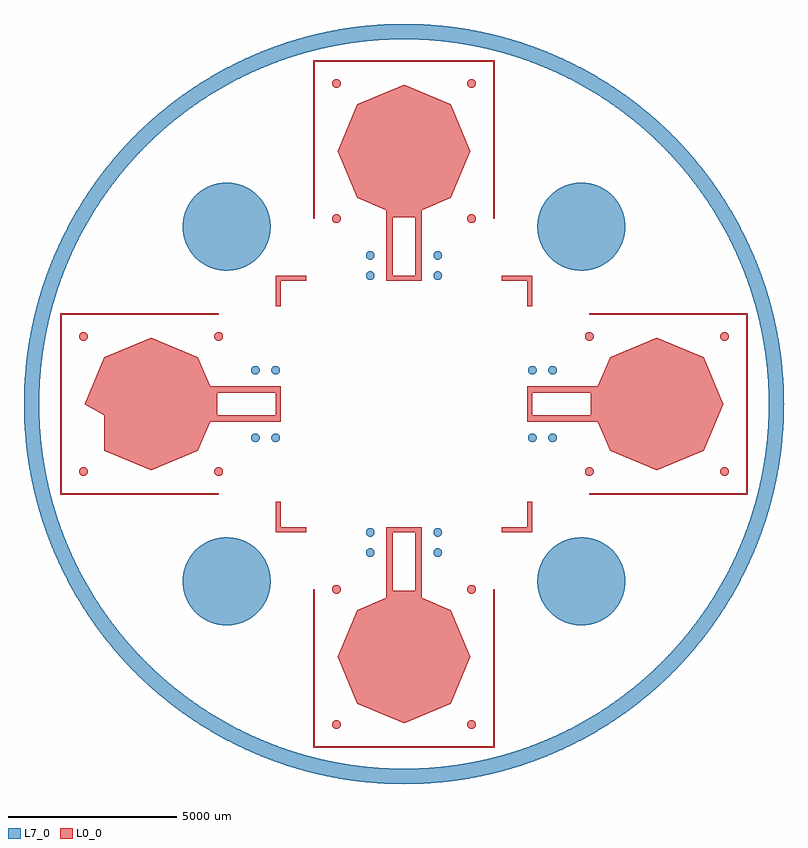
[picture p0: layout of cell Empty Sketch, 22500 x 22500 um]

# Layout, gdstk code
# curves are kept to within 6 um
import gdstk
lib = gdstk.Library(unit=1e-6, precision=1e-09)
def P(c, l, *ps):  # polygons
    for p in ps: c.add(gdstk.Polygon(p, *l))
L0_0 = (0, 0)
L7_0 = (7, 0)

empty_sketch = lib.new_cell('Empty Sketch')
P(empty_sketch, L0_0, [(-2639,10128),(2639,10128),(2639,5489),(2689,5489),(2689,10178),(-2689,10178),(-2689,5489),(-2639,5489)],
  [(2001.012,9364.004),(2048.303,9373.71),(2089.101,9401.33),(2115.678,9441.632),(2124.996,9490.012),(2115.29,9537.303),(2087.67,9578.101),(2047.368,9604.678),(1998.988,9613.996),(1951.697,9604.29),(1910.899,9576.67),(1884.322,9536.368),(1875.004,9487.988),(1884.71,9440.697),(1912.33,9399.899),(1952.632,9373.322)],
  [(-1998.988,9364.004),(-1951.697,9373.71),(-1910.899,9401.33),(-1884.322,9441.632),(-1875.004,9490.012),(-1884.71,9537.303),(-1912.33,9578.101),(-1952.632,9604.678),(-2001.012,9613.996),(-2048.303,9604.29),(-2089.101,9576.67),(-2115.678,9536.368),(-2124.996,9487.988),(-2115.29,9440.697),(-2087.67,9399.899),(-2047.368,9373.322)],
  [(2001.012,5364.004),(2048.303,5373.71),(2089.101,5401.33),(2115.678,5441.632),(2124.996,5490.012),(2115.29,5537.303),(2087.67,5578.101),(2047.368,5604.678),(1998.988,5613.996),(1951.697,5604.29),(1910.899,5576.67),(1884.322,5536.368),(1875.004,5487.988),(1884.71,5440.697),(1912.33,5399.899),(1952.632,5373.322)],
  [(-1998.988,5364.004),(-1951.697,5373.71),(-1910.899,5401.33),(-1884.322,5441.632),(-1875.004,5490.012),(-1884.71,5537.303),(-1912.33,5578.101),(-1952.632,5604.678),(-2001.012,5613.996),(-2048.303,5604.29),(-2089.101,5576.67),(-2115.678,5536.368),(-2124.996,5487.988),(-2115.29,5440.697),(-2087.67,5399.899),(-2047.368,5373.322)],
  [(-3650,3650),(-2900,3650),(-2900,3800),(-3800,3800),(-3800,2900),(-3650,2900)],
  [(3800,3800),(2900,3800),(2900,3650),(3650,3650),(3650,2900),(3800,2900)],
  [(-5489,-2639),(-10128,-2639),(-10128,2639),(-5489,2639),(-5489,2689),(-10178,2689),(-10178,-2689),(-5489,-2689)],
  [(10178,2689),(5489,2689),(5489,2639),(10128,2639),(10128,-2639),(5489,-2639),(5489,-2689),(10178,-2689)],
  [(-5487.988,1875.004),(-5440.697,1884.71),(-5399.899,1912.33),(-5373.322,1952.632),(-5364.004,2001.012),(-5373.71,2048.303),(-5401.33,2089.101),(-5441.632,2115.678),(-5490.012,2124.996),(-5537.303,2115.29),(-5578.101,2087.67),(-5604.678,2047.368),(-5613.996,1998.988),(-5604.29,1951.697),(-5576.67,1910.899),(-5536.368,1884.322)],
  [(-9487.988,1875.004),(-9440.697,1884.71),(-9399.899,1912.33),(-9373.322,1952.632),(-9364.004,2001.012),(-9373.71,2048.303),(-9401.33,2089.101),(-9441.632,2115.678),(-9490.012,2124.996),(-9537.303,2115.29),(-9578.101,2087.67),(-9604.678,2047.368),(-9613.996,1998.988),(-9604.29,1951.697),(-9576.67,1910.899),(-9536.368,1884.322)],
  [(5490.012,1875.004),(5537.303,1884.71),(5578.101,1912.33),(5604.678,1952.632),(5613.996,2001.012),(5604.29,2048.303),(5576.67,2089.101),(5536.368,2115.678),(5487.988,2124.996),(5440.697,2115.29),(5399.899,2087.67),(5373.322,2047.368),(5364.004,1998.988),(5373.71,1951.697),(5401.33,1910.899),(5441.632,1884.322)],
  [(9490.012,1875.004),(9537.303,1884.71),(9578.101,1912.33),(9604.678,1952.632),(9613.996,2001.012),(9604.29,2048.303),(9576.67,2089.101),(9536.368,2115.678),(9487.988,2124.996),(9440.697,2115.29),(9399.899,2087.67),(9373.322,2047.368),(9364.004,1998.988),(9373.71,1951.697),(9401.33,1910.899),(9441.632,1884.322)],
  [(-6098.828,-1390.172),(-5740.462,-525),(-3650,-525),(-3650,525),(-5740.462,525),(-6098.828,1390.172),(-7489,1966),(-8879.172,1390.172),(-9455,0),(-8879.171,-335),(-5523,-335),(-5523,335),(-3800,335),(-3800,-335),(-8879.171,-335),(-8879.172,-1390.172),(-7489,-1966)],
  [(5740.462,-525),(6098.828,-1390.172),(7489,-1966),(8879.172,-1390.172),(9455,0),(8879.172,1390.172),(7489,1966),(6098.828,1390.172),(5740.462,525),(3650,525),(3650,-335),(3800,-335),(3800,335),(5523,335),(5523,-335),(3650,-335),(3650,-525)],
  [(-5487.988,-2124.996),(-5440.697,-2115.29),(-5399.899,-2087.67),(-5373.322,-2047.368),(-5364.004,-1998.988),(-5373.71,-1951.697),(-5401.33,-1910.899),(-5441.632,-1884.322),(-5490.012,-1875.004),(-5537.303,-1884.71),(-5578.101,-1912.33),(-5604.678,-1952.632),(-5613.996,-2001.012),(-5604.29,-2048.303),(-5576.67,-2089.101),(-5536.368,-2115.678)],
  [(-9487.988,-2124.996),(-9440.697,-2115.29),(-9399.899,-2087.67),(-9373.322,-2047.368),(-9364.004,-1998.988),(-9373.71,-1951.697),(-9401.33,-1910.899),(-9441.632,-1884.322),(-9490.012,-1875.004),(-9537.303,-1884.71),(-9578.101,-1912.33),(-9604.678,-1952.632),(-9613.996,-2001.012),(-9604.29,-2048.303),(-9576.67,-2089.101),(-9536.368,-2115.678)],
  [(9490.012,-2124.996),(9537.303,-2115.29),(9578.101,-2087.67),(9604.678,-2047.368),(9613.996,-1998.988),(9604.29,-1951.697),(9576.67,-1910.899),(9536.368,-1884.322),(9487.988,-1875.004),(9440.697,-1884.71),(9399.899,-1912.33),(9373.322,-1952.632),(9364.004,-2001.012),(9373.71,-2048.303),(9401.33,-2089.101),(9441.632,-2115.678)],
  [(5490.012,-2124.996),(5537.303,-2115.29),(5578.101,-2087.67),(5604.678,-2047.368),(5613.996,-1998.988),(5604.29,-1951.697),(5576.67,-1910.899),(5536.368,-1884.322),(5487.988,-1875.004),(5440.697,-1884.71),(5399.899,-1912.33),(5373.322,-1952.632),(5364.004,-2001.012),(5373.71,-2048.303),(5401.33,-2089.101),(5441.632,-2115.678)],
  [(-2900,-3650),(-3650,-3650),(-3650,-2900),(-3800,-2900),(-3800,-3800),(-2900,-3800)],
  [(3800,-2900),(3650,-2900),(3650,-3650),(2900,-3650),(2900,-3800),(3800,-3800)],
  [(-1998.988,-5613.996),(-1951.697,-5604.29),(-1910.899,-5576.67),(-1884.322,-5536.368),(-1875.004,-5487.988),(-1884.71,-5440.697),(-1912.33,-5399.899),(-1952.632,-5373.322),(-2001.012,-5364.004),(-2048.303,-5373.71),(-2089.101,-5401.33),(-2115.678,-5441.632),(-2124.996,-5490.012),(-2115.29,-5537.303),(-2087.67,-5578.101),(-2047.368,-5604.678)],
  [(2001.012,-5613.996),(2048.303,-5604.29),(2089.101,-5576.67),(2115.678,-5536.368),(2124.996,-5487.988),(2115.29,-5440.697),(2087.67,-5399.899),(2047.368,-5373.322),(1998.988,-5364.004),(1951.697,-5373.71),(1910.899,-5401.33),(1884.322,-5441.632),(1875.004,-5490.012),(1884.71,-5537.303),(1912.33,-5578.101),(1952.632,-5604.678)],
  [(2689,-5489),(2639,-5489),(2639,-10128),(-2639,-10128),(-2639,-5489),(-2689,-5489),(-2689,-10178),(2689,-10178)],
  [(-1998.988,-9613.996),(-1951.697,-9604.29),(-1910.899,-9576.67),(-1884.322,-9536.368),(-1875.004,-9487.988),(-1884.71,-9440.697),(-1912.33,-9399.899),(-1952.632,-9373.322),(-2001.012,-9364.004),(-2048.303,-9373.71),(-2089.101,-9401.33),(-2115.678,-9441.632),(-2124.996,-9490.012),(-2115.29,-9537.303),(-2087.67,-9578.101),(-2047.368,-9604.678)],
  [(2001.012,-9613.996),(2048.303,-9604.29),(2089.101,-9576.67),(2115.678,-9536.368),(2124.996,-9487.988),(2115.29,-9440.697),(2087.67,-9399.899),(2047.368,-9373.322),(1998.988,-9364.004),(1951.697,-9373.71),(1910.899,-9401.33),(1884.322,-9441.632),(1875.004,-9490.012),(1884.71,-9537.303),(1912.33,-9578.101),(1952.632,-9604.678)],
  [(525,3650),(525,5740.462),(1390.172,6098.828),(1966,7489),(1390.172,8879.172),(0,9455),(-1390.172,8879.172),(-1966,7489),(-1390.172,6098.828),(-525,5740.462),(-525,3800),(-335,3800),(-335,5523),(335,5523),(335,3800),(-525,3800),(-525,3650)],
  [(-1390.172,-6098.828),(-1966,-7489),(-1390.172,-8879.172),(0,-9455),(1390.172,-8879.172),(1966,-7489),(1390.172,-6098.828),(525,-5740.462),(525,-3650),(-525,-3650),(-525,-5523),(-335,-5523),(-335,-3800),(335,-3800),(335,-5523),(-525,-5523),(-525,-5740.462)])
P(empty_sketch, L7_0, [(-11249.836,-60.726),(-11231.935,-637.289),(-11187.735,-1181.984),(-11117.135,-1723.891),(-11020.303,-2261.73),(-10889.885,-2823.634),(-10739.915,-3349.139),(-10564.602,-3866.742),(-10364.36,-4375.22),(-10139.661,-4873.374),(-9891.036,-5360.029),(-9619.071,-5834.036),(-9324.408,-6294.276),(-9007.743,-6739.664),(-8669.822,-7169.148),(-8290.95,-7604.12),(-7911.895,-7997.775),(-7514.171,-8372.559),(-7098.715,-8727.585),(-6642.027,-9079.977),(-6193.246,-9391.816),(-5729.852,-9681.493),(-5226.067,-9962.466),(-4736.102,-10204.501),(-4234.961,-10422.457),(-3723.827,-10615.819),(-3203.905,-10784.131),(-2676.424,-10926.997),(-2142.627,-11044.078),(-1603.774,-11135.098),(-1061.137,-11199.843),(-485.662,-11239.512),(60.726,-11249.836),(637.289,-11231.935),(1181.984,-11187.735),(1723.891,-11117.135),(2261.73,-11020.303),(2823.634,-10889.885),(3349.139,-10739.915),(3866.742,-10564.602),(4375.22,-10364.36),(4873.374,-10139.661),(5360.029,-9891.036),(5834.036,-9619.071),(6294.276,-9324.408),(6739.664,-9007.743),(7169.148,-8669.822),(7604.12,-8290.95),(7997.775,-7911.895),(8372.559,-7514.171),(8727.585,-7098.715),(9079.977,-6642.027),(9391.816,-6193.246),(9681.493,-5729.852),(9962.466,-5226.067),(10204.501,-4736.102),(10422.457,-4234.961),(10615.819,-3723.827),(10784.131,-3203.905),(10926.997,-2676.424),(11044.078,-2142.627),(11135.098,-1603.774),(11199.843,-1061.137),(11239.512,-485.662),(11249.836,60.726),(11231.935,637.289),(11187.735,1181.984),(11117.135,1723.891),(11020.303,2261.73),(10889.885,2823.634),(10739.915,3349.139),(10564.602,3866.742),(10364.36,4375.22),(10139.661,4873.374),(9891.036,5360.029),(9619.071,5834.036),(9324.408,6294.276),(9007.743,6739.664),(8669.822,7169.148),(8290.95,7604.12),(7911.895,7997.775),(7514.171,8372.559),(7098.715,8727.585),(6642.027,9079.977),(6193.246,9391.816),(5729.852,9681.493),(5226.067,9962.466),(4736.102,10204.501),(4234.961,10422.457),(3723.827,10615.819),(3203.905,10784.131),(2676.424,10926.997),(2142.627,11044.078),(1603.774,11135.098),(1061.137,11199.843),(485.662,11239.512),(-60.726,11249.836),(-637.289,11231.935),(-1181.984,11187.735),(-1723.891,11117.135),(-2261.73,11020.303),(-2794.232,10897.466),(-3320.14,10748.915),(-3838.214,10574.999),(-4347.231,10376.13),(-4845.99,10152.777),(-5333.314,9905.466),(-5808.053,9634.782),(-6269.087,9341.362),(-6715.328,9025.9),(-7145.722,8689.14),(-7559.256,8331.876),(-7976.392,7933.452),(-8352.248,7536.741),(-8708.394,7122.245),(-9043.992,6690.943),(-9375.066,6218.572),(-9665.993,5755.961),(-9934.111,5279.768),(-10178.787,4791.116),(-10399.445,4291.159),(-10595.564,3781.076),(-10766.68,3262.07),(-10912.39,2735.368),(-11032.351,2202.211),(-11126.279,1663.857),(-11193.952,1121.577),(-11236.727,546.325),(-11250,0),(-10800,0),(-10776.387,713.778),(-10743.907,1099.304),(-10701.686,1453.932),(-10582.197,2158.034),(-10416.434,2852.7),(-10205.124,3534.891),(-9949.188,4201.625),(-9649.748,4849.986),(-9308.112,5477.14),(-8975.736,6006.344),(-8613.308,6515.438),(-8241.308,6980.032),(-7823.792,7445.017),(-7380.081,7885.075),(-6911.66,8298.732),(-6420.098,8684.604),(-5931.934,9025.085),(-5374.204,9367.92),(-4823.375,9663.077),(-4229.027,9937.572),(-3619.138,10175.551),(-2995.951,10376.14),(-2361.756,10538.601),(-1718.882,10662.338),(-1099.304,10743.907),(-446.31,10790.774),(208.324,10797.991),(832.522,10767.865),(1483.418,10697.639),(2128.864,10588.104),(2766.487,10439.662),(3393.944,10252.86),(4008.93,10028.384),(4609.186,9767.057),(5192.504,9469.842),(5781.903,9121.93),(6323.978,8754.844),(6842.816,8355.589),(7358.324,7905.383),(7823.792,7445.017),(8260.512,6957.294),(8684.604,6420.098),(9057.642,5882.102),(9397.398,5322.491),(9702.623,4743.323),(9972.195,4146.726),(10214.826,3506.754),(10416.434,2852.7),(10570.142,2216.326),(10685.009,1571.808),(10763.113,891.857),(10797.376,238.08),(10791.963,-416.571),(10743.907,-1099.304),(10657.56,-1748.258),(10525.424,-2419.804),(10359.47,-3053.094),(10145.283,-3703.139),(9902.27,-4311.038),(9622.87,-4903.097),(9308.112,-5477.14),(8959.15,-6031.056),(8559.149,-6586.423),(8124.774,-7115.339),(7678.728,-7594.547),(7401.783,-7864.707),(7115.339,-8124.774),(6796.66,-8393.176),(6491.676,-8631.23),(6178.362,-8858.208),(5857.118,-9073.818),(5528.359,-9277.783),(5166.388,-9484.115),(4823.375,-9663.077),(4474.173,-9829.638),(4119.229,-9983.584),(3731.083,-10135.039),(3365.677,-10262.174),(2995.951,-10376.14),(2593.5,-10483.976),(2216.326,-10570.142),(1836.307,-10642.743),(1453.932,-10701.686),(1069.692,-10746.895),(654.373,-10780.158),(238.08,-10797.376),(-148.808,-10798.975),(-535.505,-10786.716),(-921.514,-10760.614),(-1306.341,-10720.703),(-1718.882,-10662.338),(-2099.677,-10593.93),(-2477.778,-10511.927),(-2852.7,-10416.434),(-3223.96,-10307.574),(-3591.083,-10185.486),(-3981.279,-10039.393),(-4338.311,-9890.352),(-4689.775,-9728.618),(-5035.22,-9554.4),(-5348.368,-9382.695),(-5681.001,-9185.109),(-6006.344,-8975.736),(-6323.978,-8754.844),(-6633.497,-8522.718),(-6934.503,-8279.653),(-7226.611,-8025.964),(-7509.444,-7761.975),(-7761.975,-7509.444),(-8006.019,-7248.701),(-8260.512,-6957.294),(-8504.405,-6656.959),(-8737.384,-6348.081),(-8975.736,-6006.344),(-9200.73,-5655.667),(-9412.03,-5296.574),(-9622.87,-4903.097),(-9804.829,-4528.281),(-9972.195,-4146.726),(-10124.719,-3758.998),(-10271.41,-3337.384),(-10392.494,-2938.717),(-10498.111,-2535.678),(-10588.104,-2128.864),(-10667.034,-1689.492),(-10727.74,-1247.234),(-10767.865,-832.522),(-10791.963,-416.571),(-10800,0),(-11250,0)],
  [(-5234.491,3950.093),(-5110.686,3957.486),(-4978.029,3978.768),(-4741.785,4053.456),(-4630.072,4107.332),(-4515.448,4177.417),(-4416.578,4252.299),(-4318.056,4343.644),(-4229.488,4444.67),(-4157.388,4545.586),(-4090.52,4662.117),(-4039.774,4775.286),(-3971.69,5013.517),(-3954.972,5136.411),(-3950.164,5270.678),(-3959.24,5404.724),(-3979.859,5527.024),(-4055.486,5762.969),(-4114.809,5883.515),(-4180.347,5988.811),(-4262.312,6095.265),(-4347.357,6185.541),(-4448.735,6273.706),(-4549.937,6345.405),(-4770.477,6458.328),(-4887.808,6498.526),(-5018.603,6529.24),(-5265.509,6549.907),(-5389.314,6542.514),(-5521.971,6521.232),(-5758.215,6446.544),(-5869.928,6392.668),(-5984.552,6322.583),(-6083.422,6247.701),(-6181.944,6156.356),(-6270.512,6055.33),(-6342.612,5954.414),(-6409.48,5837.883),(-6460.226,5724.714),(-6528.31,5486.483),(-6545.028,5363.589),(-6549.836,5229.322),(-6540.76,5095.276),(-6520.141,4972.976),(-6444.514,4737.031),(-6385.191,4616.485),(-6319.653,4511.189),(-6237.688,4404.735),(-6152.643,4314.459),(-6051.265,4226.294),(-5950.063,4154.595),(-5729.523,4041.672),(-5612.192,4001.474),(-5481.397,3970.76)],
  [(5265.509,3950.093),(5389.314,3957.486),(5521.971,3978.768),(5758.215,4053.456),(5869.928,4107.332),(5984.552,4177.417),(6083.422,4252.299),(6181.944,4343.644),(6270.512,4444.67),(6342.612,4545.586),(6409.48,4662.117),(6460.226,4775.286),(6528.31,5013.517),(6545.028,5136.411),(6549.836,5270.678),(6540.76,5404.724),(6520.141,5527.024),(6444.514,5762.969),(6385.191,5883.515),(6319.653,5988.811),(6237.688,6095.265),(6152.643,6185.541),(6051.265,6273.706),(5950.063,6345.405),(5729.523,6458.328),(5612.192,6498.526),(5481.397,6529.24),(5234.491,6549.907),(5110.686,6542.514),(4978.029,6521.232),(4741.785,6446.544),(4630.072,6392.668),(4515.448,6322.583),(4416.578,6247.701),(4318.056,6156.356),(4229.488,6055.33),(4157.388,5954.414),(4090.52,5837.883),(4039.774,5724.714),(3971.69,5486.483),(3954.972,5363.589),(3950.164,5229.322),(3959.24,5095.276),(3979.859,4972.976),(4055.486,4737.031),(4114.809,4616.485),(4180.347,4511.189),(4262.312,4404.735),(4347.357,4314.459),(4448.735,4226.294),(4549.937,4154.595),(4770.477,4041.672),(4887.808,4001.474),(5018.603,3970.76)],
  [(1007.849,4275.247),(1060.219,4290.462),(1096.314,4320.322),(1118.882,4361.373),(1124.753,4407.849),(1109.538,4460.219),(1079.678,4496.314),(1038.627,4518.882),(992.151,4524.753),(939.781,4509.538),(903.686,4479.678),(881.118,4438.627),(875.247,4392.151),(890.462,4339.781),(920.322,4303.686),(961.373,4281.118)],
  [(-992.151,4275.247),(-939.781,4290.462),(-903.686,4320.322),(-881.118,4361.373),(-875.247,4407.849),(-890.462,4460.219),(-920.322,4496.314),(-961.373,4518.882),(-1007.849,4524.753),(-1060.219,4509.538),(-1096.314,4479.678),(-1118.882,4438.627),(-1124.753,4392.151),(-1109.538,4339.781),(-1079.678,4303.686),(-1038.627,4281.118)],
  [(1007.849,3675.247),(1060.219,3690.462),(1096.314,3720.322),(1118.882,3761.373),(1124.753,3807.849),(1109.538,3860.219),(1079.678,3896.314),(1038.627,3918.882),(992.151,3924.753),(939.781,3909.538),(903.686,3879.678),(881.118,3838.627),(875.247,3792.151),(890.462,3739.781),(920.322,3703.686),(961.373,3681.118)],
  [(-992.151,3675.247),(-939.781,3690.462),(-903.686,3720.322),(-881.118,3761.373),(-875.247,3807.849),(-890.462,3860.219),(-920.322,3896.314),(-961.373,3918.882),(-1007.849,3924.753),(-1060.219,3909.538),(-1096.314,3879.678),(-1118.882,3838.627),(-1124.753,3792.151),(-1109.538,3739.781),(-1079.678,3703.686),(-1038.627,3681.118)],
  [(-3792.151,875.247),(-3739.781,890.462),(-3703.686,920.322),(-3681.118,961.373),(-3675.247,1007.849),(-3690.462,1060.219),(-3720.322,1096.314),(-3761.373,1118.882),(-3807.849,1124.753),(-3860.219,1109.538),(-3896.314,1079.678),(-3918.882,1038.627),(-3924.753,992.151),(-3909.538,939.781),(-3879.678,903.686),(-3838.627,881.118)],
  [(-4392.151,875.247),(-4339.781,890.462),(-4303.686,920.322),(-4281.118,961.373),(-4275.247,1007.849),(-4290.462,1060.219),(-4320.322,1096.314),(-4361.373,1118.882),(-4407.849,1124.753),(-4460.219,1109.538),(-4496.314,1079.678),(-4518.882,1038.627),(-4524.753,992.151),(-4509.538,939.781),(-4479.678,903.686),(-4438.627,881.118)],
  [(3807.849,875.247),(3860.219,890.462),(3896.314,920.322),(3918.882,961.373),(3924.753,1007.849),(3909.538,1060.219),(3879.678,1096.314),(3838.627,1118.882),(3792.151,1124.753),(3739.781,1109.538),(3703.686,1079.678),(3681.118,1038.627),(3675.247,992.151),(3690.462,939.781),(3720.322,903.686),(3761.373,881.118)],
  [(4407.849,875.247),(4460.219,890.462),(4496.314,920.322),(4518.882,961.373),(4524.753,1007.849),(4509.538,1060.219),(4479.678,1096.314),(4438.627,1118.882),(4392.151,1124.753),(4339.781,1109.538),(4303.686,1079.678),(4281.118,1038.627),(4275.247,992.151),(4290.462,939.781),(4320.322,903.686),(4361.373,881.118)],
  [(-3792.151,-1124.753),(-3739.781,-1109.538),(-3703.686,-1079.678),(-3681.118,-1038.627),(-3675.247,-992.151),(-3690.462,-939.781),(-3720.322,-903.686),(-3761.373,-881.118),(-3807.849,-875.247),(-3860.219,-890.462),(-3896.314,-920.322),(-3918.882,-961.373),(-3924.753,-1007.849),(-3909.538,-1060.219),(-3879.678,-1096.314),(-3838.627,-1118.882)],
  [(-4392.151,-1124.753),(-4339.781,-1109.538),(-4303.686,-1079.678),(-4281.118,-1038.627),(-4275.247,-992.151),(-4290.462,-939.781),(-4320.322,-903.686),(-4361.373,-881.118),(-4407.849,-875.247),(-4460.219,-890.462),(-4496.314,-920.322),(-4518.882,-961.373),(-4524.753,-1007.849),(-4509.538,-1060.219),(-4479.678,-1096.314),(-4438.627,-1118.882)],
  [(3807.849,-1124.753),(3860.219,-1109.538),(3896.314,-1079.678),(3918.882,-1038.627),(3924.753,-992.151),(3909.538,-939.781),(3879.678,-903.686),(3838.627,-881.118),(3792.151,-875.247),(3739.781,-890.462),(3703.686,-920.322),(3681.118,-961.373),(3675.247,-1007.849),(3690.462,-1060.219),(3720.322,-1096.314),(3761.373,-1118.882)],
  [(4407.849,-1124.753),(4460.219,-1109.538),(4496.314,-1079.678),(4518.882,-1038.627),(4524.753,-992.151),(4509.538,-939.781),(4479.678,-903.686),(4438.627,-881.118),(4392.151,-875.247),(4339.781,-890.462),(4303.686,-920.322),(4281.118,-961.373),(4275.247,-1007.849),(4290.462,-1060.219),(4320.322,-1096.314),(4361.373,-1118.882)],
  [(-992.151,-3924.753),(-939.781,-3909.538),(-903.686,-3879.678),(-881.118,-3838.627),(-875.247,-3792.151),(-890.462,-3739.781),(-920.322,-3703.686),(-961.373,-3681.118),(-1007.849,-3675.247),(-1060.219,-3690.462),(-1096.314,-3720.322),(-1118.882,-3761.373),(-1124.753,-3807.849),(-1109.538,-3860.219),(-1079.678,-3896.314),(-1038.627,-3918.882)],
  [(1007.849,-3924.753),(1060.219,-3909.538),(1096.314,-3879.678),(1118.882,-3838.627),(1124.753,-3792.151),(1109.538,-3739.781),(1079.678,-3703.686),(1038.627,-3681.118),(992.151,-3675.247),(939.781,-3690.462),(903.686,-3720.322),(881.118,-3761.373),(875.247,-3807.849),(890.462,-3860.219),(920.322,-3896.314),(961.373,-3918.882)],
  [(-5234.491,-6549.907),(-5110.686,-6542.514),(-4978.029,-6521.232),(-4741.785,-6446.544),(-4630.072,-6392.668),(-4515.448,-6322.583),(-4416.578,-6247.701),(-4318.056,-6156.356),(-4229.488,-6055.33),(-4157.388,-5954.414),(-4090.52,-5837.883),(-4039.774,-5724.714),(-3971.69,-5486.483),(-3954.972,-5363.589),(-3950.164,-5229.322),(-3959.24,-5095.276),(-3979.859,-4972.976),(-4055.486,-4737.031),(-4114.809,-4616.485),(-4180.347,-4511.189),(-4262.312,-4404.735),(-4347.357,-4314.459),(-4448.735,-4226.294),(-4549.937,-4154.595),(-4770.477,-4041.672),(-4887.808,-4001.474),(-5018.603,-3970.76),(-5265.509,-3950.093),(-5389.314,-3957.486),(-5521.971,-3978.768),(-5758.215,-4053.456),(-5869.928,-4107.332),(-5984.552,-4177.417),(-6083.422,-4252.299),(-6181.944,-4343.644),(-6270.512,-4444.67),(-6342.612,-4545.586),(-6409.48,-4662.117),(-6460.226,-4775.286),(-6528.31,-5013.517),(-6545.028,-5136.411),(-6549.836,-5270.678),(-6540.76,-5404.724),(-6520.141,-5527.024),(-6444.514,-5762.969),(-6385.191,-5883.515),(-6319.653,-5988.811),(-6237.688,-6095.265),(-6152.643,-6185.541),(-6051.265,-6273.706),(-5950.063,-6345.405),(-5729.523,-6458.328),(-5612.192,-6498.526),(-5481.397,-6529.24)],
  [(5265.509,-6549.907),(5389.314,-6542.514),(5521.971,-6521.232),(5758.215,-6446.544),(5869.928,-6392.668),(5984.552,-6322.583),(6083.422,-6247.701),(6181.944,-6156.356),(6270.512,-6055.33),(6342.612,-5954.414),(6409.48,-5837.883),(6460.226,-5724.714),(6528.31,-5486.483),(6545.028,-5363.589),(6549.836,-5229.322),(6540.76,-5095.276),(6520.141,-4972.976),(6444.514,-4737.031),(6385.191,-4616.485),(6319.653,-4511.189),(6237.688,-4404.735),(6152.643,-4314.459),(6051.265,-4226.294),(5950.063,-4154.595),(5729.523,-4041.672),(5612.192,-4001.474),(5481.397,-3970.76),(5234.491,-3950.093),(5110.686,-3957.486),(4978.029,-3978.768),(4741.785,-4053.456),(4630.072,-4107.332),(4515.448,-4177.417),(4416.578,-4252.299),(4318.056,-4343.644),(4229.488,-4444.67),(4157.388,-4545.586),(4090.52,-4662.117),(4039.774,-4775.286),(3971.69,-5013.517),(3954.972,-5136.411),(3950.164,-5270.678),(3959.24,-5404.724),(3979.859,-5527.024),(4055.486,-5762.969),(4114.809,-5883.515),(4180.347,-5988.811),(4262.312,-6095.265),(4347.357,-6185.541),(4448.735,-6273.706),(4549.937,-6345.405),(4770.477,-6458.328),(4887.808,-6498.526),(5018.603,-6529.24)],
  [(-992.151,-4524.753),(-939.781,-4509.538),(-903.686,-4479.678),(-881.118,-4438.627),(-875.247,-4392.151),(-890.462,-4339.781),(-920.322,-4303.686),(-961.373,-4281.118),(-1007.849,-4275.247),(-1060.219,-4290.462),(-1096.314,-4320.322),(-1118.882,-4361.373),(-1124.753,-4407.849),(-1109.538,-4460.219),(-1079.678,-4496.314),(-1038.627,-4518.882)],
  [(1007.849,-4524.753),(1060.219,-4509.538),(1096.314,-4479.678),(1118.882,-4438.627),(1124.753,-4392.151),(1109.538,-4339.781),(1079.678,-4303.686),(1038.627,-4281.118),(992.151,-4275.247),(939.781,-4290.462),(903.686,-4320.322),(881.118,-4361.373),(875.247,-4407.849),(890.462,-4460.219),(920.322,-4496.314),(961.373,-4518.882)])

lib.write_gds('Empty_Sketch.gds')
